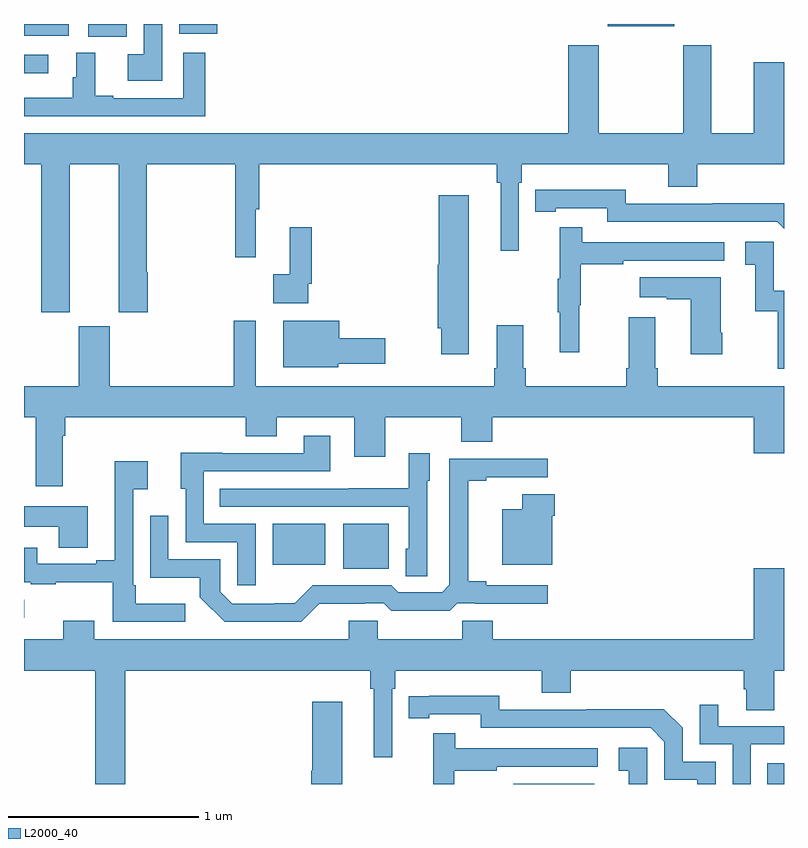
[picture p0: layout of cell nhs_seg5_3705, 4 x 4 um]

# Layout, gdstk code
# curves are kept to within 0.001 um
import gdstk
lib = gdstk.Library(unit=1e-6, precision=1e-09)
def R(c, l, rs):  # rectangles x0, y0, x1, y1
    for r in rs: c.add(gdstk.rectangle(r[:2], r[2:], *l))
def P(c, l, *ps):  # polygons
    for p in ps: c.add(gdstk.Polygon(p, *l))
L2000_40 = (2000, 40)

nhs_seg5_3705 = lib.new_cell('nhs_seg5_3705')
R(nhs_seg5_3705, L2000_40, [(331.575,886.799,332.002,886.801), (332.911,886.799,333,886.908), (329,887.675,329.002,887.769), (330.68,887.933,330.919,888.169), (330.308,887.954,330.586,888.169), (329,890.54,329.128,890.637), (329.339,890.732,329.542,890.799), (329,890.738,329.236,890.799), (329.816,890.747,330.017,890.799), (332.072,890.786,332.422,890.799)])
P(nhs_seg5_3705, L2000_40, [(329.727,890.799),(329.631,890.799),(329.631,890.641),(329.547,890.641),(329.547,890.501),(329.727,890.501)],
  [(329.242,890.06),(329.498,890.06),(329.498,889.281),(329.651,889.281),(329.651,889.493),(329.646,889.493),(329.646,890.06),(330.111,890.06),(330.111,889.572),(330.221,889.572),(330.221,889.824),(330.239,889.824),(330.239,890.06),(331.489,890.06),(331.489,889.964),(331.508,889.964),(331.508,889.605),(331.605,889.605),(331.605,889.964),(331.619,889.964),(331.619,890.06),(332.39,890.06),(332.39,889.943),(332.543,889.943),(332.543,890.06),(333,890.06),(333,890.599),(332.84,890.599),(332.84,890.224),(332.617,890.224),(332.617,890.686),(332.47,890.686),(332.47,890.224),(332.025,890.224),(332.025,890.686),(331.865,890.686),(331.865,890.224),(329,890.224),(329,890.06),(329.09,890.06),(329.09,889.281),(329.242,889.281)],
  [(329.954,890.647),(329.838,890.647),(329.838,890.409),(329.47,890.409),(329.47,890.422),(329.374,890.422),(329.374,890.647),(329.276,890.647),(329.276,890.52),(329.257,890.52),(329.257,890.41),(329,890.41),(329,890.313),(329.954,890.313)],
  [(333,889.856),(332.626,889.856),(332.626,889.854),(332.166,889.854),(332.166,889.927),(331.69,889.926),(331.69,889.81),(331.798,889.81),(331.798,889.83),(332.07,889.83),(332.07,889.758),(332.964,889.758),(333,889.722)],
  [(331.342,889.897),(331.184,889.897),(331.184,889.533),(331.178,889.533),(331.178,889.197),(331.196,889.197),(331.196,889.062),(331.342,889.062)],
  [(330.495,889.432),(330.515,889.432),(330.515,889.729),(330.398,889.729),(330.398,889.481),(330.312,889.481),(330.312,889.328),(330.495,889.328)],
  [(331.922,889.32),(331.93,889.32),(331.93,889.534),(332.153,889.534),(332.153,889.554),(332.686,889.554),(332.686,889.65),(331.937,889.65),(331.937,889.729),(331.82,889.729),(331.82,889.457),(331.809,889.457),(331.809,889.283),(331.82,889.283),(331.82,889.071),(331.922,889.071)],
  [(333,889.395),(332.946,889.395),(332.946,889.654),(332.796,889.654),(332.796,889.533),(332.849,889.533),(332.849,889.287),(332.967,889.287),(332.967,888.984),(333,888.984)],
  [(332.676,889.174),(332.668,889.174),(332.668,889.465),(332.241,889.465),(332.241,889.361),(332.384,889.361),(332.384,889.351),(332.51,889.351),(332.51,889.062),(332.676,889.062)],
  [(329.203,888.632),(329.216,888.632),(329.216,888.728),(330.167,888.728),(330.167,888.629),(330.331,888.629),(330.331,888.728),(330.737,888.728),(330.737,888.522),(330.901,888.522),(330.901,888.728),(331.301,888.728),(331.301,888.6),(331.465,888.6),(331.465,888.728),(332.84,888.728),(332.84,888.54),(333,888.54),(333,888.892),(332.336,888.892),(332.336,888.988),(332.323,888.988),(332.323,889.255),(332.183,889.255),(332.183,888.988),(332.171,888.988),(332.171,888.892),(331.64,888.892),(331.64,888.988),(331.627,888.988),(331.627,889.213),(331.487,889.213),(331.487,888.988),(331.475,888.988),(331.475,888.892),(330.22,888.892),(330.22,889.237),(330.103,889.237),(330.103,888.892),(329.452,888.892),(329.452,889.209),(329.288,889.209),(329.288,888.892),(329,888.892),(329,888.728),(329.063,888.728),(329.063,888.366),(329.203,888.366)],
  [(330.654,889.01),(330.901,889.01),(330.901,889.145),(330.658,889.145),(330.658,889.237),(330.365,889.237),(330.365,888.992),(330.654,888.992)],
  [(330.219,888.168),(329.946,888.168),(329.946,888.444),(330.613,888.444),(330.613,888.631),(330.473,888.631),(330.473,888.54),(330.043,888.54),(330.043,888.542),(329.825,888.542),(329.825,888.354),(329.85,888.354),(329.85,888.072),(330.123,888.072),(330.123,887.844),(330.219,887.844)],
  [(331.122,888.396),(331.135,888.396),(331.135,888.541),(331.026,888.541),(331.026,888.355),(330.709,888.355),(330.709,888.354),(330.031,888.354),(330.031,888.258),(331.026,888.258),(331.026,888.036),(331.01,888.036),(331.01,887.893),(331.122,887.893)],
  [(330.554,887.747),(330.794,887.747),(330.794,887.751),(330.894,887.751),(330.934,887.712),(331.241,887.712),(331.281,887.751),(331.375,887.751),(331.375,887.747),(331.756,887.747),(331.756,887.844),(331.432,887.844),(331.432,887.867),(331.337,887.867),(331.337,888.394),(331.432,888.394),(331.432,888.414),(331.756,888.414),(331.756,888.51),(331.239,888.51),(331.239,887.847),(331.2,887.808),(330.969,887.808),(330.933,887.844),(330.519,887.844),(330.425,887.75),(330.32,887.75),(330.32,887.748),(330.096,887.748),(330.033,887.811),(330.033,887.982),(329.76,887.982),(329.76,888.211),(329.664,888.211),(329.664,887.885),(329.926,887.885),(329.926,887.783),(330.056,887.652),(330.459,887.652)],
  [(329.848,887.749),(329.587,887.749),(329.587,887.845),(329.574,887.845),(329.574,888.35),(329.65,888.35),(329.65,888.499),(329.477,888.499),(329.477,887.977),(329.381,887.977),(329.381,887.958),(329.071,887.958),(329.071,888.043),(329,888.043),(329,887.862),(329.035,887.862),(329.035,887.85),(329.167,887.85),(329.167,887.861),(329.466,887.861),(329.466,887.652),(329.848,887.652)],
  [(331.78,888.212),(331.793,888.212),(331.793,888.325),(331.622,888.325),(331.622,888.244),(331.517,888.244),(331.517,887.954),(331.78,887.954)],
  [(329.335,888.262),(329,888.262),(329,888.152),(329.183,888.152),(329.183,888.043),(329.335,888.043)],
  [(329.534,887.396),(330.823,887.396),(330.823,887.3),(330.842,887.3),(330.842,886.941),(330.939,886.941),(330.939,887.3),(330.953,887.3),(330.953,887.396),(331.724,887.396),(331.724,887.279),(331.877,887.279),(331.877,887.396),(332.789,887.396),(332.789,887.298),(332.801,887.298),(332.801,887.188),(332.949,887.188),(332.949,887.396),(333,887.396),(333,887.935),(332.84,887.935),(332.84,887.56),(331.466,887.56),(331.466,887.658),(331.306,887.658),(331.306,887.56),(330.861,887.56),(330.861,887.658),(330.71,887.658),(330.71,887.56),(329.371,887.56),(329.371,887.659),(329.207,887.659),(329.207,887.56),(329,887.56),(329,887.396),(329.374,887.396),(329.374,886.799),(329.534,886.799)],
  [(332.64,886.917),(332.466,886.917),(332.466,887.094),(332.368,887.192),(331.96,887.192),(331.96,887.19),(331.5,887.19),(331.5,887.263),(331.024,887.262),(331.024,887.146),(331.132,887.146),(331.132,887.166),(331.404,887.166),(331.404,887.094),(332.298,887.094),(332.37,887.022),(332.37,886.821),(332.543,886.821),(332.543,886.799),(332.64,886.799)],
  [(330.676,887.233),(330.518,887.233),(330.518,886.869),(330.512,886.869),(330.512,886.799),(330.676,886.799)],
  [(332.826,887.007),(333,887.007),(333,887.103),(332.653,887.103),(332.653,887.215),(332.556,887.215),(332.556,887.007),(332.73,887.007),(332.73,886.799),(332.826,886.799)],
  [(331.264,886.87),(331.487,886.87),(331.487,886.89),(332.02,886.89),(332.02,886.986),(331.271,886.986),(331.271,887.065),(331.154,887.065),(331.154,886.799),(331.264,886.799)],
  [(332.28,886.99),(332.13,886.99),(332.13,886.869),(332.183,886.869),(332.183,886.799),(332.28,886.799)])

lib.write_gds('nhs_seg5_3705.gds')
